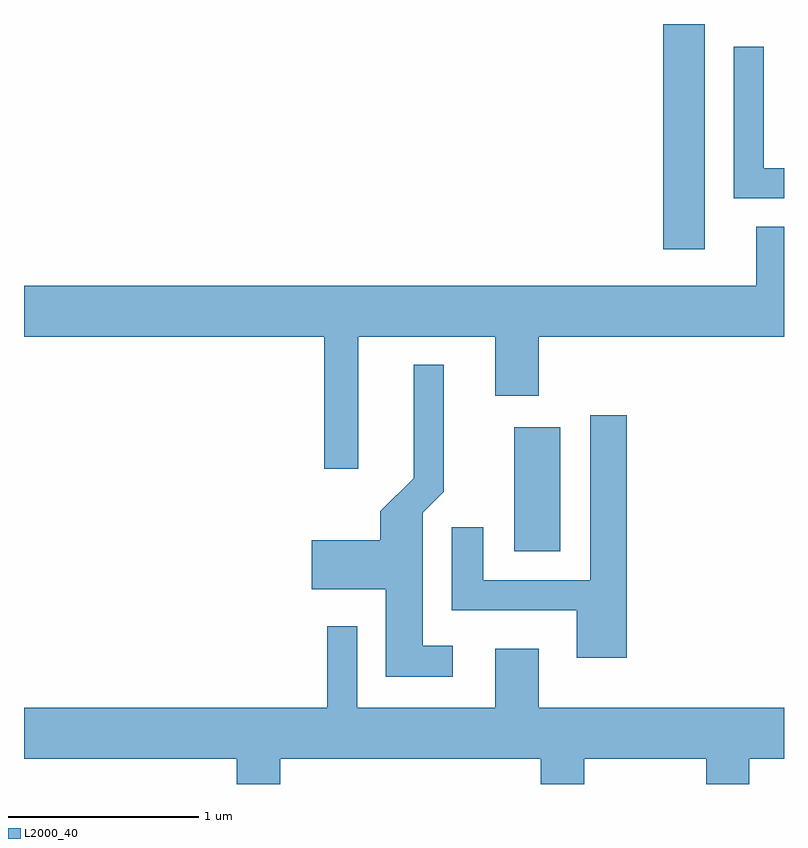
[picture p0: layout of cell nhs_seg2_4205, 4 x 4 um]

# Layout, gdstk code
import gdstk
lib = gdstk.Library(unit=1e-6, precision=1e-09)
def R(c, l, rs):  # rectangles x0, y0, x1, y1
    for r in rs: c.add(gdstk.rectangle(r[:2], r[2:], *l))
def P(c, l, *ps):  # polygons
    for p in ps: c.add(gdstk.Polygon(p, *l))
L2000_40 = (2000, 40)

nhs_seg2_4205 = lib.new_cell('nhs_seg2_4205')
R(nhs_seg2_4205, L2000_40, [(312.191,985.026,312.434,985.679), (312.976,986.616,313.194,987.802)])
P(nhs_seg2_4205, L2000_40, [(313.611,987.044),(313.504,987.044),(313.504,987.683),(313.346,987.683),(313.346,986.886),(313.611,986.886)],
  [(311.369,986.156),(312.091,986.156),(312.091,985.846),(312.319,985.846),(312.319,986.156),(313.611,986.156),(313.611,986.734),(313.466,986.734),(313.466,986.424),(309.611,986.424),(309.611,986.156),(311.191,986.156),(311.191,985.461),(311.369,985.461)],
  [(311.868,984.529),(311.709,984.529),(311.709,985.229),(311.819,985.339),(311.819,986.008),(311.661,986.008),(311.661,985.412),(311.486,985.237),(311.486,985.084),(311.126,985.084),(311.126,984.826),(311.516,984.826),(311.516,984.366),(311.868,984.366)],
  [(312.784,985.744),(312.591,985.744),(312.591,984.874),(312.029,984.874),(312.029,985.153),(311.861,985.153),(311.861,984.716),(312.521,984.716),(312.521,984.466),(312.784,984.466)],
  [(309.611,983.936),(310.731,983.936),(310.731,983.802),(310.959,983.802),(310.959,983.936),(312.331,983.936),(312.331,983.802),(312.559,983.802),(312.559,983.936),(313.201,983.936),(313.201,983.802),(313.429,983.802),(313.429,983.936),(313.611,983.936),(313.611,984.204),(312.319,984.204),(312.319,984.514),(312.091,984.514),(312.091,984.204),(311.364,984.204),(311.364,984.633),(311.206,984.633),(311.206,984.204),(309.611,984.204)])

lib.write_gds('nhs_seg2_4205.gds')
